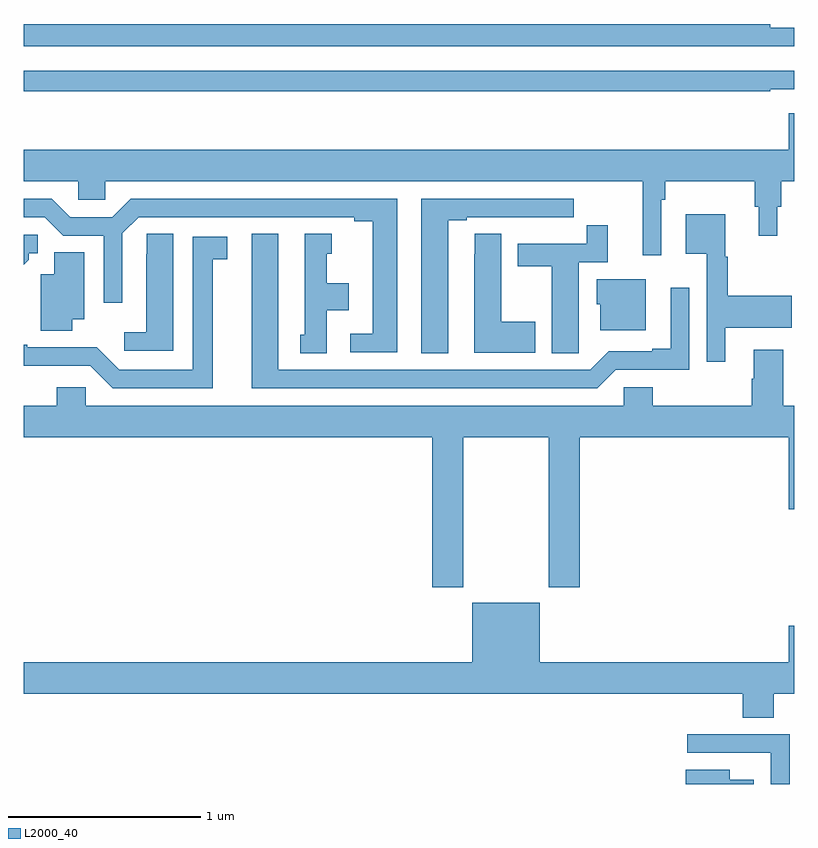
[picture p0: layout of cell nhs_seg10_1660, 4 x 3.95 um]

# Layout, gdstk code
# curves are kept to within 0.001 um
import gdstk
lib = gdstk.Library(unit=1e-6, precision=1e-09)
def P(c, l, *ps):  # polygons
    for p in ps: c.add(gdstk.Polygon(p, *l))
L2000_40 = (2000, 40)

nhs_seg10_1660 = lib.new_cell('nhs_seg10_1660')
P(nhs_seg10_1660, L2000_40, [(201,1318.429),(200.876,1318.429),(200.876,1318.448),(197,1318.448),(197,1318.332),(201,1318.332)],
  [(200.876,1318.11),(201,1318.11),(201,1318.206),(197,1318.206),(197,1318.098),(200.876,1318.098)],
  [(200.31,1317.536),(200.33,1317.536),(200.33,1317.632),(200.797,1317.632),(200.797,1317.498),(200.816,1317.498),(200.816,1317.348),(200.914,1317.348),(200.914,1317.498),(200.933,1317.498),(200.933,1317.632),(201,1317.632),(201,1317.985),(200.972,1317.985),(200.972,1317.796),(197,1317.796),(197,1317.632),(197.283,1317.632),(197.283,1317.534),(197.421,1317.534),(197.421,1317.632),(200.213,1317.632),(200.213,1317.246),(200.31,1317.246)],
  [(199.204,1317.429),(199.3,1317.429),(199.3,1317.444),(199.576,1317.444),(199.576,1317.443),(199.742,1317.443),(199.742,1317.444),(199.855,1317.444),(199.855,1317.54),(199.064,1317.54),(199.064,1316.737),(199.204,1316.737)],
  [(198.94,1317.54),(197.555,1317.54),(197.459,1317.444),(197.241,1317.444),(197.145,1317.54),(197,1317.54),(197,1317.444),(197.109,1317.444),(197.205,1317.348),(197.415,1317.348),(197.415,1317),(197.511,1317),(197.511,1317.36),(197.595,1317.444),(198.716,1317.444),(198.716,1317.424),(198.812,1317.424),(198.812,1316.838),(198.696,1316.838),(198.696,1316.742),(198.94,1316.742)],
  [(200.644,1316.87),(200.989,1316.87),(200.989,1317.036),(200.656,1317.036),(200.656,1317.24),(200.644,1317.24),(200.644,1317.46),(200.438,1317.46),(200.438,1317.254),(200.547,1317.254),(200.547,1316.694),(200.644,1316.694)],
  [(199.881,1316.848),(199.882,1316.848),(199.882,1317.21),(200.033,1317.21),(200.033,1317.403),(199.924,1317.403),(199.924,1317.306),(199.565,1317.306),(199.565,1317.19),(199.742,1317.19),(199.742,1316.737),(199.881,1316.737)],
  [(199.657,1316.901),(199.48,1316.901),(199.48,1317.359),(199.341,1317.359),(199.341,1317.251),(199.34,1317.251),(199.34,1316.741),(199.657,1316.741)],
  [(197.776,1317.359),(197.637,1317.359),(197.637,1317.251),(197.636,1317.251),(197.636,1316.848),(197.52,1316.848),(197.52,1316.751),(197.776,1316.751)],
  [(198.574,1316.96),(198.688,1316.96),(198.688,1317.1),(198.574,1317.1),(198.574,1317.255),(198.598,1317.255),(198.598,1317.358),(198.458,1317.358),(198.458,1316.835),(198.434,1316.835),(198.434,1316.737),(198.574,1316.737)],
  [(200.073,1316.652),(200.457,1316.652),(200.457,1317.079),(200.36,1317.079),(200.36,1316.761),(200.264,1316.761),(200.264,1316.748),(200.037,1316.748),(199.941,1316.652),(198.322,1316.652),(198.322,1317.358),(198.182,1317.358),(198.182,1316.556),(199.977,1316.556)],
  [(197.026,1317.223),(197.026,1317.258),(197.071,1317.258),(197.071,1317.354),(197,1317.354),(197,1317.197)],
  [(197.98,1317.226),(198.055,1317.226),(198.055,1317.342),(197.876,1317.342),(197.876,1316.652),(197.496,1316.652),(197.378,1316.77),(197.017,1316.769),(197.017,1316.782),(197,1316.782),(197,1316.672),(197.343,1316.673),(197.46,1316.556),(197.98,1316.556)],
  [(197.251,1316.915),(197.314,1316.915),(197.314,1317.263),(197.156,1317.263),(197.156,1317.148),(197.087,1317.148),(197.087,1316.854),(197.251,1316.854)],
  [(200.23,1317.121),(199.976,1317.121),(199.976,1316.991),(199.994,1316.991),(199.994,1316.858),(200.23,1316.858)],
  [(199.281,1316.3),(199.726,1316.3),(199.726,1315.521),(199.886,1315.521),(199.886,1316.3),(200.972,1316.3),(200.972,1315.926),(201,1315.926),(201,1316.464),(200.945,1316.464),(200.945,1316.755),(200.792,1316.755),(200.792,1316.606),(200.78,1316.606),(200.78,1316.464),(200.267,1316.464),(200.267,1316.562),(200.115,1316.562),(200.115,1316.464),(197.322,1316.464),(197.322,1316.562),(197.171,1316.562),(197.171,1316.464),(197,1316.464),(197,1316.3),(199.121,1316.3),(199.121,1315.521),(199.281,1315.521)],
  [(200.895,1314.968),(201,1314.968),(201,1315.321),(200.972,1315.321),(200.972,1315.132),(199.678,1315.132),(199.678,1315.441),(199.328,1315.441),(199.328,1315.132),(197,1315.132),(197,1314.968),(200.735,1314.968),(200.735,1314.844),(200.895,1314.844)],
  [(200.979,1314.759),(200.445,1314.759),(200.445,1314.663),(200.879,1314.663),(200.879,1314.662),(200.88,1314.662),(200.88,1314.5),(200.979,1314.5)],
  [(200.791,1314.523),(200.665,1314.523),(200.665,1314.574),(200.438,1314.574),(200.438,1314.5),(200.791,1314.5)])

lib.write_gds('nhs_seg10_1660.gds')
